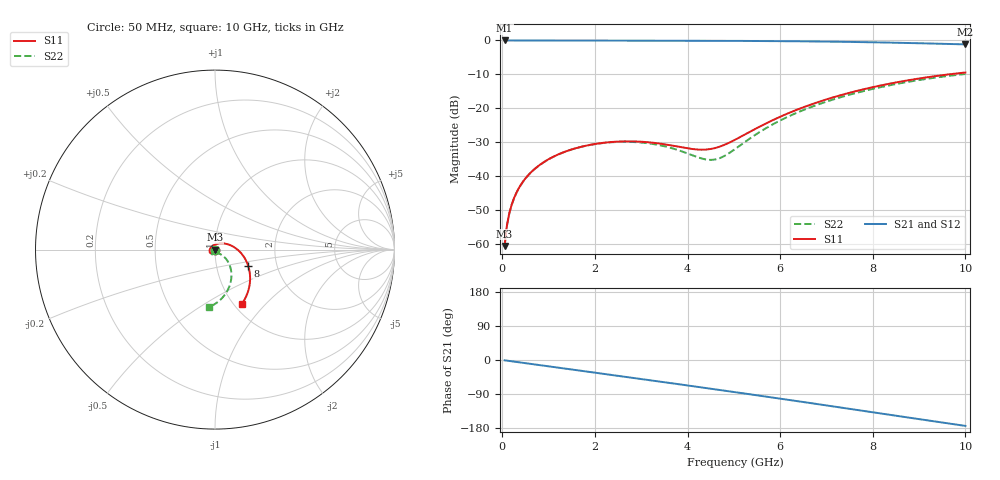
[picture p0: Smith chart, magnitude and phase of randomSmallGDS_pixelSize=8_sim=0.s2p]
! freq	dB(S11)	phase(S11)	dB(S12)	phase(S12)
!  dB(S21)	phase(S21)	dB(S22)	phase(S22)
!S-par simulation data
#  GHz  S  DB  R 50
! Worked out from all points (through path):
!   200 points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, 50 MHz to 10 GHz, reference 50 ohm
!   highest |S21| = 0.00 dB at 50 MHz (marker M1); lowest = -1.2 dB at 10 GHz (marker M2)
!   group delay of S21, straight-line fit = 48.4 ps
!   lowest |S11| = -60.5 dB at 50 MHz (marker M3), VSWR 1.00, Z = 50 - j0.0942 ohm
!   |S11| at or under -10 dB: start of sweep to 9.639 GHz
!   |S22| runs from -60.6 to -9.9 dB; largest |S21 - S12| = 0
!   S11 on the Smith chart (normalised r, x): 50 MHz: 1.00, -0.00; 8 GHz: 1.42, -0.27; 10 GHz: 1.09, -0.74
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0.05  -60.52 -89.5  -0.00 -0.8  -0.00 -0.8  -60.62 -89.2
0.1  -54.51 -91.4  -0.00 -1.7  -0.00 -1.7  -54.60 -90.8
0.15  -50.99 -92.7  -0.00 -2.5  -0.00 -2.5  -51.08 -91.9
0.2  -48.50 -93.9  -0.00 -3.4  -0.00 -3.4  -48.58 -92.8
0.35  -43.68 -97.2  -0.00 -5.9  -0.00 -5.9  -43.75 -95.2
0.5  -40.65 -100.5  -0.01 -8.4  -0.01 -8.4  -40.69 -97.4
0.7  -37.85 -104.8  -0.01 -11.7  -0.01 -11.7  -37.88 -100.3
1  -35.00 -111.3  -0.02 -16.7  -0.02 -16.7  -35.02 -104.6
1.35  -32.80 -118.9  -0.03 -22.6  -0.03 -22.6  -32.82 -109.4
1.75  -31.18 -127.9  -0.04 -29.2  -0.04 -29.2  -31.20 -114.6
2.6  -29.75 -149.1  -0.05 -43.5  -0.05 -43.5  -29.87 -124.1
3.4  -30.39 -175.6  -0.07 -56.9  -0.07 -56.9  -30.87 -127.8
4.15  -32.06 141.6  -0.09 -69.7  -0.09 -69.7  -34.07 -113.5
4.5  -31.98 112.0  -0.10 -75.7  -0.10 -75.7  -35.19 -90.0
4.75  -31.01 90.3  -0.11 -80.0  -0.11 -80.0  -34.36 -68.9
5.05  -29.10 67.8  -0.13 -85.2  -0.13 -85.2  -31.77 -50.5
5.85  -23.42 29.0  -0.19 -99.3  -0.19 -99.3  -24.66 -38.1
6.7  -18.71 3.7  -0.29 -114.4  -0.29 -114.4  -19.46 -44.3
8  -13.76 -25.8  -0.54 -137.9  -0.54 -137.9  -14.28 -62.5
8.35  -12.77 -32.9  -0.63 -144.3  -0.63 -144.3  -13.25 -68.0
9.15  -10.90 -48.3  -0.87 -158.7  -0.87 -158.7  -11.34 -81.2
10  -9.44 -63.6  -1.16 -173.9  -1.16 -173.9  -9.88 -95.6
